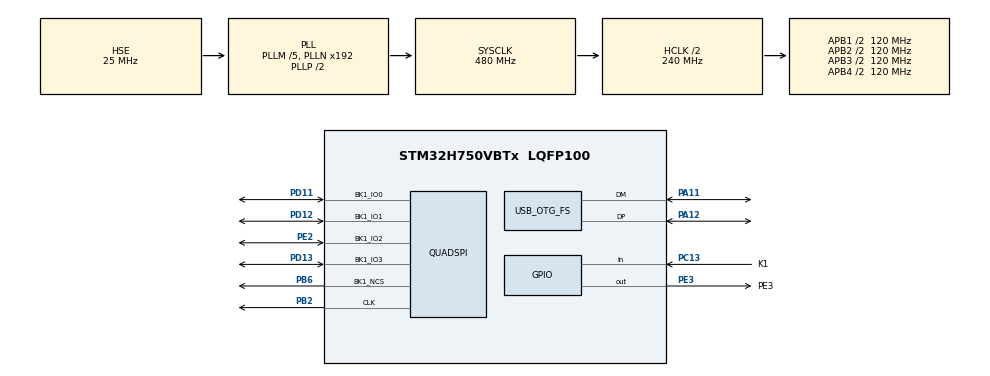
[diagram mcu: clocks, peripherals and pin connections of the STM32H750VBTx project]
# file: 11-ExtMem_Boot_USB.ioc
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CORTEX_M7.CPU_DCache=Enabled
CORTEX_M7.CPU_ICache=Enabled
CORTEX_M7.MPU_Control=__NULL
Mcu.Family=STM32H7
Mcu.Name=STM32H750VBTx
Mcu.Package=LQFP100
Mcu.UserConstants=CUSTOM_HID_EPOUT_SIZE,0x40U;CUSTOM_HID_EPIN_SIZE,0x40U
NVIC.OTG_FS_IRQn=true\:0\:0\:false\:false\:true\:false\:true\:true
NVIC.PriorityGroup=NVIC_PRIORITYGROUP_4
PA11.Mode=Device_Only
PA11.Signal=USB_OTG_FS_DM
PA12.Mode=Device_Only
PA12.Signal=USB_OTG_FS_DP
PA13\ (JTMS/SWDIO).Mode=Serial_Wire
PA13\ (JTMS/SWDIO).Signal=DEBUG_JTMS-SWDIO
PA14\ (JTCK/SWCLK).Mode=Serial_Wire
PA14\ (JTCK/SWCLK).Signal=DEBUG_JTCK-SWCLK
PB2.GPIO_Speed=GPIO_SPEED_FREQ_VERY_HIGH
PB2.Mode=Single Bank 1
PB2.Signal=QUADSPI_CLK
PB6.GPIO_PuPd=GPIO_NOPULL
PB6.GPIO_Speed=GPIO_SPEED_FREQ_VERY_HIGH
PB6.Mode=Single Bank 1
PB6.Signal=QUADSPI_BK1_NCS
PC13.GPIO_Label=K1
PC13.GPIO_PuPd=GPIO_PULLDOWN
PC13.Signal=GPIO_Input
PC14-OSC32_IN\ (OSC32_IN).Mode=LSE-External-Oscillator
PC14-OSC32_IN\ (OSC32_IN).Signal=RCC_OSC32_IN
PC15-OSC32_OUT\ (OSC32_OUT).Mode=LSE-External-Oscillator
PC15-OSC32_OUT\ (OSC32_OUT).Signal=RCC_OSC32_OUT
PD11.GPIO_Speed=GPIO_SPEED_FREQ_VERY_HIGH
PD11.Mode=Single Bank 1
PD11.Signal=QUADSPI_BK1_IO0
PD12.GPIO_Speed=GPIO_SPEED_FREQ_VERY_HIGH
PD12.Mode=Single Bank 1
PD12.Signal=QUADSPI_BK1_IO1
PD13.GPIO_Speed=GPIO_SPEED_FREQ_VERY_HIGH
PD13.Mode=Single Bank 1
PD13.Signal=QUADSPI_BK1_IO3
PE2.GPIO_Speed=GPIO_SPEED_FREQ_VERY_HIGH
PE2.Mode=Single Bank 1
PE2.Signal=QUADSPI_BK1_IO2
PE3.GPIO_Label=PE3
PE3.GPIO_ModeDefaultOutputPP=GPIO_MODE_OUTPUT_PP
PE3.GPIO_PuPd=GPIO_NOPULL
PE3.PinState=GPIO_PIN_SET
PE3.Signal=GPIO_Output
PH0-OSC_IN\ (PH0).Mode=HSE-External-Oscillator
PH0-OSC_IN\ (PH0).Signal=RCC_OSC_IN
PH1-OSC_OUT\ (PH1).Mode=HSE-External-Oscillator
PH1-OSC_OUT\ (PH1).Signal=RCC_OSC_OUT
ProjectManager.HeapSize=0x200
ProjectManager.StackSize=0x400
ProjectManager.TargetToolchain=STM32CubeIDE
QUADSPI.ChipSelectHighTime=QSPI_CS_HIGH_TIME_8_CYCLE
QUADSPI.ClockMode=QSPI_CLOCK_MODE_3
QUADSPI.ClockPrescaler=2-1
QUADSPI.FifoThreshold=32
QUADSPI.FlashSize=23-1
QUADSPI.SampleShifting=QSPI_SAMPLE_SHIFTING_HALFCYCLE
RCC.ADCFreq_Value=200000000
RCC.APB1Freq_Value=120000000
RCC.APB2Freq_Value=120000000
RCC.APB3Freq_Value=120000000
RCC.APB4Freq_Value=120000000
RCC.CortexFreq_Value=480000000
RCC.D1PPRE=RCC_APB3_DIV2
RCC.D2PPRE1=RCC_APB1_DIV2
RCC.D2PPRE2=RCC_APB2_DIV2
RCC.D3PPRE=RCC_APB4_DIV2
RCC.DIVM1=5
RCC.DIVM2=2
RCC.DIVN1=192
RCC.DIVN2=32
RCC.DIVQ1=1
RCC.HCLKFreq_Value=240000000
RCC.HPRE=RCC_HCLK_DIV2
RCC.HSE_VALUE=25000000
RCC.PLL2FRACN=0
RCC.PLL3FRACN=0
RCC.PLLFRACN=0
RCC.PLLSourceVirtual=RCC_PLLSOURCE_HSE
RCC.RTCClockSelection=RCC_RTCCLKSOURCE_LSE
RCC.SYSCLKFreq_VALUE=480000000
RCC.SYSCLKSource=RCC_SYSCLKSOURCE_PLLCLK
RCC.SupplySource=PWR_LDO_SUPPLY
RCC.USBCLockSelection=RCC_USBCLKSOURCE_HSI48
RCC.USBFreq_Value=48000000
USB_DEVICE.CLASS_NAME_FS=CUSTOM_HID
USB_DEVICE.CONFIGURATION_STRING_CUSTOMHID_FS=STM32 HID Bootloader Config
USB_DEVICE.CUSTOM_HID_FS_BINTERVAL=0x1
USB_DEVICE.INTERFACE_STRING_CUSTOMHID_FS=STM32 HID Bootloader Interface
USB_DEVICE.MANUFACTURER_STRING-CUSTOM_HID_FS=WeAct Studio
USB_DEVICE.PID_CUSTOMHID_FS=22314
USB_DEVICE.PRODUCT_STRING_CUSTOMHID_FS=WeAct Studio HID Bootloader
USB_DEVICE.USBD_CUSTOMHID_OUTREPORT_BUF_SIZE-CUSTOM_HID_FS=64
USB_DEVICE.USBD_CUSTOM_HID_REPORT_DESC_SIZE-CUSTOM_HID_FS=20
USB_DEVICE.USBD_SELF_POWERED-CUSTOM_HID_FS=0
USB_DEVICE.VirtualMode-CUSTOM_HID_FS=CustomHid
USB_DEVICE.VirtualModeFS=Custom_Hid_FS
USB_OTG_FS.VirtualMode=Device_Only
VP_RTC_VS_RTC_Activate.Mode=RTC_Enabled
VP_USB_DEVICE_VS_USB_DEVICE_CUSTOM_HID_FS.Mode=CUSTOM_HID_FS
board=custom

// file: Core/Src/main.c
/* USER CODE BEGIN Header */
/**
  ******************************************************************************
  * @file           : main.c
  * @brief          : Main program body
  ******************************************************************************
  * @attention
  *
  * <h2><center>&copy; Copyright (c) 2020 STMicroelectronics.
  * All rights reserved.</center></h2>
  *
  * This software component is licensed by ST under BSD 3-Clause license,
  * the "License"; You may not use this file except in compliance with the
  * License. You may obtain a copy of the License at:
  *                        opensource.org/licenses/BSD-3-Clause
  *
  ******************************************************************************
  */
/* USER CODE END Header */
#include "main.h"
#include "rtc.h"
#include "gpio.h"

/* USER CODE BEGIN Includes */
#include "w25qxx_qspi.h"
#include "hid_bootloader.h"
#include "usb_device.h"
#include "quadspi.h"
/* USER CODE END Includes */

/* USER CODE BEGIN PTD */

#define W25Qxx_TEST              (0)
#define APPLICATION_ADDRESS      QSPI_BASE
#define ISP_ADDRESS              (0x1FF09800UL)
typedef  void (*pFunction)(void);
/* USER CODE END PTD */

/* USER CODE BEGIN PV */
pFunction JumpToApplication;
/* USER CODE END PV */

void SystemClock_Config(void);
/* USER CODE BEGIN PFP */
static void CPU_CACHE_Disable(void);
/* USER CODE END PFP */

/* USER CODE BEGIN 0 */
#if W25Qxx_TEST == (1)
uint8_t read[4096];
uint8_t write[4096];
#endif

uint8_t app_IsReady(uint32_t addr)
{
  uint32_t data;

  W25qxx_Read((uint8_t *)&data,addr - QSPI_BASE,sizeof(data));

	if((data & 0x2FF80000 ) == 0x24000000)
		return SUCCESS;
	else if((data & 0x2FF80000 ) == 0x20000000)
		return SUCCESS;
  else if((data & 0x3FF80000 ) == 0x30000000)
		return SUCCESS;
 	else if((data & 0x3FF80000 ) == 0x00000000)
		return SUCCESS;
	else
		return ERROR;
}

void app_Jump(uint32_t addr)
{
	pFunction JumpToApplication;
	uint32_t JumpAddress;

	/* Jump to user application */
	JumpAddress = *(__IO uint32_t*) (addr + 4);
	JumpToApplication = (pFunction) JumpAddress;

	/* Initialize user application's Stack Pointer */
	__set_MSP(*(__IO uint32_t*) addr);
	JumpToApplication();
}

/* USER CODE END 0 */

int main(void)
{

  /* Enable the CPU Cache */

  /* Enable I-Cache---------------------------------------------------------*/
  SCB_EnableICache();

  /* Enable D-Cache---------------------------------------------------------*/
  SCB_EnableDCache();

  /* MCU Configuration--------------------------------------------------------*/

  /* Reset of all peripherals, Initializes the Flash interface and the Systick. */
  HAL_Init();

  /* Configure the system clock */
  SystemClock_Config();

  /* Initialize all configured peripherals */
  MX_GPIO_Init();
  MX_RTC_Init();
  /* USER CODE BEGIN 2 */

	/* QPIMode && NormalMode : 100Mhz Clk can run to App, Normal */
	/* QPIMode && DTRMode    : 100Mhz Clk can not run to App, need lower Clk, Recommend 50Mhz */
	/* SPIMode && NormalMode : 100Mhz Clk can run to App, Normal */
	/* SPIMode && DTRMode    : 100Mhz Clk can not run to App, need lower Clk, Recommend 50Mhz*/

	/* QPIMode && NormalMode : 120Mhz Clk can not run to App, UnNormal */
	/* QPIMode && DTRMode    : 120Mhz Clk can not run to App, need lower Clk, Recommend 60Mhz */
	/* SPIMode && NormalMode : 120Mhz Clk can run to App, Normal */
	/* SPIMode && DTRMode    : 120Mhz Clk can not run to App, need lower Clk, Recommend 60Mhz*/

	w25qxx_Init();
	w25qxx_EnterQPI();

#if W25Qxx_TEST == (1)
	W25qxx_EraseSector(0);
	for(uint32_t j=0;j<sizeof(write);j+=256)
		for(uint32_t i=0;i<=0xff;i++)
			write[j+i] = i;
	W25qxx_WriteNoCheck(write,0,sizeof(write));
	W25qxx_Read(read,0,sizeof(read));
#endif

#if W25Qxx_TEST == (0)
  /* Reset MCU && Long Press K1 to Enter ISP Mode */
	if(HAL_GPIO_ReadPin(K1_GPIO_Port,K1_Pin) == GPIO_PIN_SET)
	{
		HAL_Delay(50);
    uint32_t time_count;
    time_count = 0;
		while(HAL_GPIO_ReadPin(K1_GPIO_Port,K1_Pin) == GPIO_PIN_SET)
		{
			HAL_GPIO_TogglePin(PE3_GPIO_Port,PE3_Pin);
			HAL_Delay(100);

      time_count ++;
      if(time_count == 20)
      {
        while(HAL_GPIO_ReadPin(K1_GPIO_Port,K1_Pin) == GPIO_PIN_SET)
        {
          HAL_GPIO_TogglePin(PE3_GPIO_Port,PE3_Pin);
          HAL_Delay(40);
        }
        HAL_QSPI_DeInit(&hqspi);
        HAL_GPIO_DeInit(GPIOA,GPIO_PIN_All);
        HAL_GPIO_DeInit(GPIOB,GPIO_PIN_All);
        HAL_GPIO_DeInit(GPIOC,GPIO_PIN_All);
        HAL_GPIO_DeInit(GPIOD,GPIO_PIN_All);
        HAL_GPIO_DeInit(GPIOE,GPIO_PIN_All);

        /* Disable CPU L1 cache before jumping to the QSPI code execution */
        CPU_CACHE_Disable();
        /* Disable Systick interrupt */
        SysTick->CTRL = 0;

        /* Initialize ISP application's Stack Pointer & Jump to ISP application */
        app_Jump(ISP_ADDRESS);
      }
		}
    USB_HID_Download:
    MX_USB_DEVICE_Init();

    uint32_t tick;
    while(1)
    {
      hid_bootloader_Run();

      static uint8_t pwmset;
      static uint16_t time;
      static uint8_t timeflag;
      static uint8_t timecount;
      if((HAL_GetTick() - tick >= 1 ))
      {
         tick = HAL_GetTick();

         /* ������ */
         /* Breathing Lamp */
        if(timeflag == 0)
        {
          time ++;
          if(time >= 1200) timeflag = 1;
        }
        else
        {
          time --;
          if(time <= 110) timeflag = 0;
        }

        /* ռ�ձ����� */
        /* Duty Cycle Setting */
        pwmset = time/120;

        /* 20ms ���� */
        /* 20ms Pulse Width */
        if(timecount > 20) timecount = 0;
        else timecount ++;

        if(timecount >= pwmset ) HAL_GPIO_WritePin(PE3_GPIO_Port,PE3_Pin,GPIO_PIN_RESET);
        else HAL_GPIO_WritePin(PE3_GPIO_Port,PE3_Pin,GPIO_PIN_SET);

      }
    }
	}

  if(app_IsReady(APPLICATION_ADDRESS) == SUCCESS)
	{
    w25qxx_Startup(w25qxx_DTRMode);

		/* Disable CPU L1 cache before jumping to the QSPI code execution */
		CPU_CACHE_Disable();
		/* Disable Systick interrupt */
		SysTick->CTRL = 0;

		/* Initialize user application's Stack Pointer & Jump to user application */
		app_Jump(APPLICATION_ADDRESS);
	}
  else
  {
    goto USB_HID_Download;
  }
#else
  w25qxx_Startup(w25qxx_DTRMode);
#endif
  /* USER CODE END 2 */

  /* Infinite loop */
  while (1)
  {

    /* USER CODE BEGIN 3 */
		HAL_GPIO_TogglePin(PE3_GPIO_Port,PE3_Pin);
    HAL_Delay(50);
    HAL_GPIO_TogglePin(PE3_GPIO_Port,PE3_Pin);
    HAL_Delay(50);
    HAL_GPIO_TogglePin(PE3_GPIO_Port,PE3_Pin);
		HAL_Delay(500);
  }
  /* USER CODE END 3 */
}

void SystemClock_Config(void)
{
  RCC_OscInitTypeDef RCC_OscInitStruct = {0};
  RCC_ClkInitTypeDef RCC_ClkInitStruct = {0};

  /** Supply configuration update enable
  */
  HAL_PWREx_ConfigSupply(PWR_LDO_SUPPLY);

  /** Configure the main internal regulator output voltage
  */
  __HAL_PWR_VOLTAGESCALING_CONFIG(PWR_REGULATOR_VOLTAGE_SCALE1);

  while(!__HAL_PWR_GET_FLAG(PWR_FLAG_VOSRDY)) {}

  __HAL_RCC_SYSCFG_CLK_ENABLE();
  __HAL_PWR_VOLTAGESCALING_CONFIG(PWR_REGULATOR_VOLTAGE_SCALE0);

  while(!__HAL_PWR_GET_FLAG(PWR_FLAG_VOSRDY)) {}

  /** Configure LSE Drive Capability
  */
  HAL_PWR_EnableBkUpAccess();
  __HAL_RCC_LSEDRIVE_CONFIG(RCC_LSEDRIVE_LOW);

  /** Initializes the RCC Oscillators according to the specified parameters
  * in the RCC_OscInitTypeDef structure.
  */
  RCC_OscInitStruct.OscillatorType = RCC_OSCILLATORTYPE_HSI48|RCC_OSCILLATORTYPE_HSE
                              |RCC_OSCILLATORTYPE_LSE;
  RCC_OscInitStruct.HSEState = RCC_HSE_ON;
  RCC_OscInitStruct.LSEState = RCC_LSE_ON;
  RCC_OscInitStruct.HSI48State = RCC_HSI48_ON;
  RCC_OscInitStruct.PLL.PLLState = RCC_PLL_ON;
  RCC_OscInitStruct.PLL.PLLSource = RCC_PLLSOURCE_HSE;
  RCC_OscInitStruct.PLL.PLLM = 5;
  RCC_OscInitStruct.PLL.PLLN = 192;
  RCC_OscInitStruct.PLL.PLLP = 2;
  RCC_OscInitStruct.PLL.PLLQ = 1;
  RCC_OscInitStruct.PLL.PLLR = 2;
  RCC_OscInitStruct.PLL.PLLRGE = RCC_PLL1VCIRANGE_2;
  RCC_OscInitStruct.PLL.PLLVCOSEL = RCC_PLL1VCOWIDE;
  RCC_OscInitStruct.PLL.PLLFRACN = 0;
  if (HAL_RCC_OscConfig(&RCC_OscInitStruct) != HAL_OK)
  {
    Error_Handler();
  }

  /** Initializes the CPU, AHB and APB buses clocks
  */
  RCC_ClkInitStruct.ClockType = RCC_CLOCKTYPE_HCLK|RCC_CLOCKTYPE_SYSCLK
                              |RCC_CLOCKTYPE_PCLK1|RCC_CLOCKTYPE_PCLK2
                              |RCC_CLOCKTYPE_D3PCLK1|RCC_CLOCKTYPE_D1PCLK1;
  RCC_ClkInitStruct.SYSCLKSource = RCC_SYSCLKSOURCE_PLLCLK;
  RCC_ClkInitStruct.SYSCLKDivider = RCC_SYSCLK_DIV1;
  RCC_ClkInitStruct.AHBCLKDivider = RCC_HCLK_DIV2;
  RCC_ClkInitStruct.APB3CLKDivider = RCC_APB3_DIV2;
  RCC_ClkInitStruct.APB1CLKDivider = RCC_APB1_DIV2;
  RCC_ClkInitStruct.APB2CLKDivider = RCC_APB2_DIV2;
  RCC_ClkInitStruct.APB4CLKDivider = RCC_APB4_DIV2;

  if (HAL_RCC_ClockConfig(&RCC_ClkInitStruct, FLASH_LATENCY_4) != HAL_OK)
  {
    Error_Handler();
  }
}

/* USER CODE BEGIN 4 */
/**
  * @brief  CPU L1-Cache disable.
  * @param  None
  * @retval None
  */
static void CPU_CACHE_Disable(void)
{
  /* Disable I-Cache */
  SCB_DisableICache();

  /* Disable D-Cache */
  SCB_DisableDCache();
}

/* USER CODE END 4 */

void Error_Handler(void)
{
}
